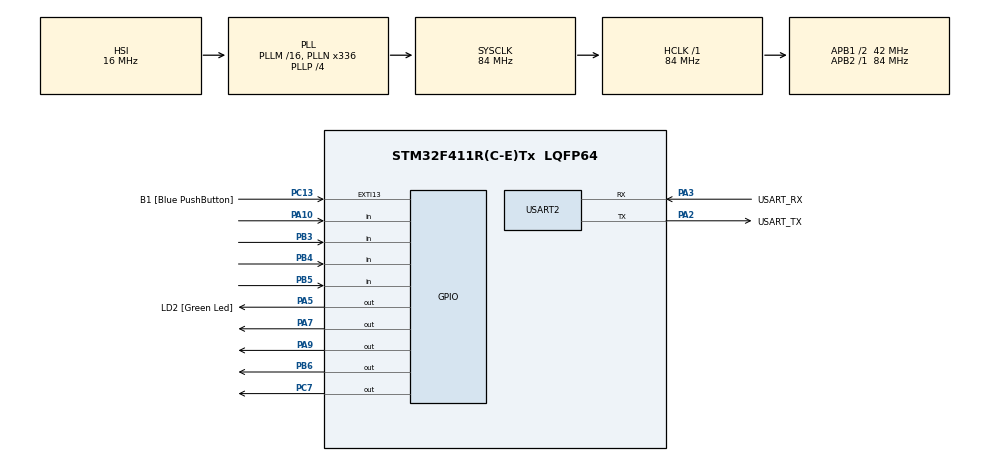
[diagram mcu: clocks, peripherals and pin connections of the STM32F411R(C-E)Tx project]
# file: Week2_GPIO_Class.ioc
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Mcu.Family=STM32F4
Mcu.Name=STM32F411R(C-E)Tx
Mcu.Package=LQFP64
NVIC.PriorityGroup=NVIC_PRIORITYGROUP_0
PA10.GPIO_PuPd=GPIO_PULLUP
PA10.Signal=GPIO_Input
PA13.GPIO_Label=TMS
PA13.Mode=Serial_Wire
PA13.Signal=SYS_JTMS-SWDIO
PA14.GPIO_Label=TCK
PA14.Mode=Serial_Wire
PA14.Signal=SYS_JTCK-SWCLK
PA2.GPIO_Label=USART_TX
PA2.Mode=Asynchronous
PA2.Signal=USART2_TX
PA3.GPIO_Label=USART_RX
PA3.Mode=Asynchronous
PA3.Signal=USART2_RX
PA5.GPIO_Label=LD2 [Green Led]
PA5.GPIO_ModeDefaultOutputPP=GPIO_MODE_OUTPUT_PP
PA5.GPIO_PuPd=GPIO_NOPULL
PA5.PinState=GPIO_PIN_RESET
PA5.Signal=GPIO_Output
PA7.GPIO_ModeDefaultOutputPP=GPIO_MODE_OUTPUT_OD
PA7.PinState=GPIO_PIN_SET
PA7.Signal=GPIO_Output
PA9.GPIO_ModeDefaultOutputPP=GPIO_MODE_OUTPUT_OD
PA9.PinState=GPIO_PIN_SET
PA9.Signal=GPIO_Output
PB3.GPIO_PuPd=GPIO_PULLUP
PB3.Signal=GPIO_Input
PB4.GPIO_PuPd=GPIO_PULLUP
PB4.Signal=GPIO_Input
PB5.GPIO_PuPd=GPIO_PULLUP
PB5.Signal=GPIO_Input
PB6.GPIO_ModeDefaultOutputPP=GPIO_MODE_OUTPUT_OD
PB6.PinState=GPIO_PIN_SET
PB6.Signal=GPIO_Output
PC13-ANTI_TAMP.GPIO_Label=B1 [Blue PushButton]
PC13-ANTI_TAMP.GPIO_ModeDefaultEXTI=GPIO_MODE_IT_FALLING
PC13-ANTI_TAMP.Signal=GPXTI13
PC14-OSC32_IN.Mode=LSE-External-Oscillator
PC14-OSC32_IN.Signal=RCC_OSC32_IN
PC15-OSC32_OUT.Mode=LSE-External-Oscillator
PC15-OSC32_OUT.Signal=RCC_OSC32_OUT
PC7.GPIO_ModeDefaultOutputPP=GPIO_MODE_OUTPUT_OD
PC7.PinState=GPIO_PIN_SET
PC7.Signal=GPIO_Output
PH0\ -\ OSC_IN.Mode=HSE-External-Clock-Source
PH0\ -\ OSC_IN.Signal=RCC_OSC_IN
PH1\ -\ OSC_OUT.Mode=HSE-External-Clock-Source
PH1\ -\ OSC_OUT.Signal=RCC_OSC_OUT
ProjectManager.HeapSize=0x200
ProjectManager.StackSize=0x400
ProjectManager.TargetToolchain=STM32CubeIDE
RCC.48MHZClocksFreq_Value=84000000
RCC.AHBFreq_Value=84000000
RCC.APB1CLKDivider=RCC_HCLK_DIV2
RCC.APB1Freq_Value=42000000
RCC.APB1TimFreq_Value=84000000
RCC.APB2Freq_Value=84000000
RCC.APB2TimFreq_Value=84000000
RCC.CortexFreq_Value=84000000
RCC.FLatency-AdvancedSettings=FLASH_LATENCY_2
RCC.HCLKFreq_Value=84000000
RCC.HSE_VALUE=8000000
RCC.HSI_VALUE=16000000
RCC.PLLN=336
RCC.PLLP=RCC_PLLP_DIV4
RCC.SYSCLKFreq_VALUE=84000000
RCC.SYSCLKSource=RCC_SYSCLKSOURCE_PLLCLK
RCC.VCOOutputFreq_Value=336000000
USART2.VirtualMode=VM_ASYNC
board=NUCLEO-F411RE

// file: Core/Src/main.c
/* USER CODE BEGIN Header */
/**
  ******************************************************************************
  * @file           : main.c
  * @brief          : Main program body
  ******************************************************************************
  * @attention
  *
  * <h2><center>&copy; Copyright (c) 2021 STMicroelectronics.
  * All rights reserved.</center></h2>
  *
  * This software component is licensed by ST under BSD 3-Clause license,
  * the "License"; You may not use this file except in compliance with the
  * License. You may obtain a copy of the License at:
  *                        opensource.org/licenses/BSD-3-Clause
  *
  ******************************************************************************
  */
/* USER CODE END Header */
#include "main.h"

UART_HandleTypeDef huart2;

/* USER CODE BEGIN PV */
//save status of Button Matrix
uint16_t ButtonMatrixState = 0;

//Button time stamp
uint32_t ButtonMatrixTimestamp = 0;

uint16_t Data1 =0;
uint16_t Input=0;
GPIO_TypeDef *Password[11] = {0,0,0,0,0,0,0,0,0,0,0} ;
int count =0;
GPIO_PinState Pinstate;
int k=0;
int Pass =0;
/* USER CODE END PV */

void SystemClock_Config(void);
static void MX_GPIO_Init(void);
static void MX_USART2_UART_Init(void);
/* USER CODE BEGIN PFP */
void ButtonMatrixUpdate();
/* USER CODE END PFP */

int main(void)
{

  /* MCU Configuration--------------------------------------------------------*/

  /* Reset of all peripherals, Initializes the Flash interface and the Systick. */
  HAL_Init();

  /* Configure the system clock */
  SystemClock_Config();

  /* Initialize all configured peripherals */
  MX_GPIO_Init();
  MX_USART2_UART_Init();

  /* Infinite loop */
  while (1)
  {

    /* USER CODE BEGIN 3 */
	  Input=0;
	  ButtonMatrixUpdate();
	  if (Input == 1 && k==0){
		  Password[count] = 7;
		  count++;
		  k=1;
	  }
	  else if (Input == 1 && k==0){
		  Password[count] = 7;
		  count++;
		  k=1;
	  }
	  else if (Input == 2 && k==0){
		  Password[count] = 8;
		  count++;
		  k=1;
	  }
	  else if (Input == 4 && k==0){
		  Password[count] = 9;
		  count++;
		  k=1;
	  }
	  else if (Input == 16 && k==0){
		  Password[count] = 4;
		  count++;
		  k=1;
	  }
	  else if (Input == 32 && k==0){
		  Password[count] = 5;
		  count++;
		  k=1;
	  }
	  else if (Input == 64 && k==0){
		  Password[count] = 6;
		  count++;
		  k=1;
	  }
	  else if (Input == 256 && k==0){
		  Password[count] = 1;
		  count++;
		  k=1;
	  }
	  else if (Input == 512 && k==0){
		  Password[count] = 2;
		  count++;
		  k=1;
	  }
	  else if (Input == 1024 && k==0){
		  Password[count] = 3;
		  count++;
		  k=1;
	  }
	  else if (Input == 4096 && k==0){
		  Password[count] = 0;
		  count++;
		  k=1;
	  }
	  else if (Input == 8){
		  count=0;
		  int j ;
		  HAL_GPIO_WritePin(GPIOA, GPIO_PIN_5, GPIO_PIN_SET);
		  for (j=0; j<11;j+=1){
			  Password[j] = 0;
		  }
		  k=1;
	  }
	  else if (Input == 32768 && k==0){
		  count=0;
		  if(Password[0]==6 && Password[1]==2 && Password[2]==3 && Password[3]==4
		  && Password[4]==0 && Password[5]==5 && Password[6]==0 && Password[7]==0
		  && Password[8]==0 && Password[9]==2 && Password[10]==9) {
			  HAL_GPIO_WritePin(GPIOA, GPIO_PIN_5, GPIO_PIN_SET);
			  Pass=1;
		  }
		  else {
			Pass =0;
			HAL_GPIO_WritePin(GPIOA, GPIO_PIN_5, GPIO_PIN_SET);
			k=1;
		  }
		  int j ;
		  count=0;
		  for (j=0; j<11;j+=1){
			  Password[j] = 0;
		  }
		  Pass=0;

	  }

	  else if(k==1 && ButtonMatrixState==0 ){
		  k=0;
		  HAL_GPIO_WritePin(GPIOA, GPIO_PIN_5, GPIO_PIN_RESET);
	  }

	  //Challenge
	  else if(Input == 128 && k==0){
		  Password[count-1]=0;
		  count-=1;
		  if(count<=0){
			  count=0;
		  }
		  k=1;
	  }

	  else if(k==1 && ButtonMatrixState!=0){
		  HAL_GPIO_WritePin(GPIOA, GPIO_PIN_5, GPIO_PIN_SET);
	  }

  }
  /* USER CODE END 3 */
}

void SystemClock_Config(void)
{
  RCC_OscInitTypeDef RCC_OscInitStruct = {0};
  RCC_ClkInitTypeDef RCC_ClkInitStruct = {0};

  /** Configure the main internal regulator output voltage
  */
  __HAL_RCC_PWR_CLK_ENABLE();
  __HAL_PWR_VOLTAGESCALING_CONFIG(PWR_REGULATOR_VOLTAGE_SCALE1);
  /** Initializes the RCC Oscillators according to the specified parameters
  * in the RCC_OscInitTypeDef structure.
  */
  RCC_OscInitStruct.OscillatorType = RCC_OSCILLATORTYPE_HSI;
  RCC_OscInitStruct.HSIState = RCC_HSI_ON;
  RCC_OscInitStruct.HSICalibrationValue = RCC_HSICALIBRATION_DEFAULT;
  RCC_OscInitStruct.PLL.PLLState = RCC_PLL_ON;
  RCC_OscInitStruct.PLL.PLLSource = RCC_PLLSOURCE_HSI;
  RCC_OscInitStruct.PLL.PLLM = 16;
  RCC_OscInitStruct.PLL.PLLN = 336;
  RCC_OscInitStruct.PLL.PLLP = RCC_PLLP_DIV4;
  RCC_OscInitStruct.PLL.PLLQ = 4;
  if (HAL_RCC_OscConfig(&RCC_OscInitStruct) != HAL_OK)
  {
    Error_Handler();
  }
  /** Initializes the CPU, AHB and APB buses clocks
  */
  RCC_ClkInitStruct.ClockType = RCC_CLOCKTYPE_HCLK|RCC_CLOCKTYPE_SYSCLK
                              |RCC_CLOCKTYPE_PCLK1|RCC_CLOCKTYPE_PCLK2;
  RCC_ClkInitStruct.SYSCLKSource = RCC_SYSCLKSOURCE_PLLCLK;
  RCC_ClkInitStruct.AHBCLKDivider = RCC_SYSCLK_DIV1;
  RCC_ClkInitStruct.APB1CLKDivider = RCC_HCLK_DIV2;
  RCC_ClkInitStruct.APB2CLKDivider = RCC_HCLK_DIV1;

  if (HAL_RCC_ClockConfig(&RCC_ClkInitStruct, FLASH_LATENCY_2) != HAL_OK)
  {
    Error_Handler();
  }
}

static void MX_USART2_UART_Init(void)
{

  huart2.Instance = USART2;
  huart2.Init.BaudRate = 115200;
  huart2.Init.WordLength = UART_WORDLENGTH_8B;
  huart2.Init.StopBits = UART_STOPBITS_1;
  huart2.Init.Parity = UART_PARITY_NONE;
  huart2.Init.Mode = UART_MODE_TX_RX;
  huart2.Init.HwFlowCtl = UART_HWCONTROL_NONE;
  huart2.Init.OverSampling = UART_OVERSAMPLING_16;
  if (HAL_UART_Init(&huart2) != HAL_OK)
  {
    Error_Handler();
  }

}

static void MX_GPIO_Init(void)
{
  GPIO_InitTypeDef GPIO_InitStruct = {0};

  /* GPIO Ports Clock Enable */
  __HAL_RCC_GPIOC_CLK_ENABLE();
  __HAL_RCC_GPIOH_CLK_ENABLE();
  __HAL_RCC_GPIOA_CLK_ENABLE();
  __HAL_RCC_GPIOB_CLK_ENABLE();

  /*Configure GPIO pin Output Level */
  HAL_GPIO_WritePin(LD2_GPIO_Port, LD2_Pin, GPIO_PIN_RESET);

  /*Configure GPIO pin Output Level */
  HAL_GPIO_WritePin(GPIOA, GPIO_PIN_7|GPIO_PIN_9, GPIO_PIN_SET);

  /*Configure GPIO pin Output Level */
  HAL_GPIO_WritePin(GPIOC, GPIO_PIN_7, GPIO_PIN_SET);

  /*Configure GPIO pin Output Level */
  HAL_GPIO_WritePin(GPIOB, GPIO_PIN_6, GPIO_PIN_SET);

  /*Configure GPIO pin : B1_Pin */
  GPIO_InitStruct.Pin = B1_Pin;
  GPIO_InitStruct.Mode = GPIO_MODE_IT_FALLING;
  GPIO_InitStruct.Pull = GPIO_NOPULL;
  HAL_GPIO_Init(B1_GPIO_Port, &GPIO_InitStruct);

  /*Configure GPIO pin : LD2_Pin */
  GPIO_InitStruct.Pin = LD2_Pin;
  GPIO_InitStruct.Mode = GPIO_MODE_OUTPUT_PP;
  GPIO_InitStruct.Pull = GPIO_NOPULL;
  GPIO_InitStruct.Speed = GPIO_SPEED_FREQ_LOW;
  HAL_GPIO_Init(LD2_GPIO_Port, &GPIO_InitStruct);

  /*Configure GPIO pins : PA7 PA9 */
  GPIO_InitStruct.Pin = GPIO_PIN_7|GPIO_PIN_9;
  GPIO_InitStruct.Mode = GPIO_MODE_OUTPUT_OD;
  GPIO_InitStruct.Pull = GPIO_NOPULL;
  GPIO_InitStruct.Speed = GPIO_SPEED_FREQ_LOW;
  HAL_GPIO_Init(GPIOA, &GPIO_InitStruct);

  /*Configure GPIO pin : PC7 */
  GPIO_InitStruct.Pin = GPIO_PIN_7;
  GPIO_InitStruct.Mode = GPIO_MODE_OUTPUT_OD;
  GPIO_InitStruct.Pull = GPIO_NOPULL;
  GPIO_InitStruct.Speed = GPIO_SPEED_FREQ_LOW;
  HAL_GPIO_Init(GPIOC, &GPIO_InitStruct);

  /*Configure GPIO pin : PA10 */
  GPIO_InitStruct.Pin = GPIO_PIN_10;
  GPIO_InitStruct.Mode = GPIO_MODE_INPUT;
  GPIO_InitStruct.Pull = GPIO_PULLUP;
  HAL_GPIO_Init(GPIOA, &GPIO_InitStruct);

  /*Configure GPIO pins : PB3 PB4 PB5 */
  GPIO_InitStruct.Pin = GPIO_PIN_3|GPIO_PIN_4|GPIO_PIN_5;
  GPIO_InitStruct.Mode = GPIO_MODE_INPUT;
  GPIO_InitStruct.Pull = GPIO_PULLUP;
  HAL_GPIO_Init(GPIOB, &GPIO_InitStruct);

  /*Configure GPIO pin : PB6 */
  GPIO_InitStruct.Pin = GPIO_PIN_6;
  GPIO_InitStruct.Mode = GPIO_MODE_OUTPUT_OD;
  GPIO_InitStruct.Pull = GPIO_NOPULL;
  GPIO_InitStruct.Speed = GPIO_SPEED_FREQ_LOW;
  HAL_GPIO_Init(GPIOB, &GPIO_InitStruct);

}

/* USER CODE BEGIN 4 */
//port/pin array , 0-3 input , 4-7 output
GPIO_TypeDef* ButtonMatrixPort[8] ={GPIOA,GPIOB,GPIOB,GPIOB,GPIOA,GPIOC,GPIOB,GPIOA};
uint16_t ButtonMatrixPin[8] = {GPIO_PIN_10,GPIO_PIN_3,GPIO_PIN_5,GPIO_PIN_4,GPIO_PIN_9,GPIO_PIN_7,GPIO_PIN_6,GPIO_PIN_7};

int n;
uint8_t ButtonMatrixRow = 0; //What R Now

void ButtonMatrixUpdate()
{
	if(HAL_GetTick()-ButtonMatrixTimestamp >= 25)
	{
		ButtonMatrixTimestamp = HAL_GetTick();
		int i;
		for(i=0; i<4;i+=1)
		{	//0-3
			Pinstate = HAL_GPIO_ReadPin(ButtonMatrixPort[i], ButtonMatrixPin[i]);
			if(Pinstate == GPIO_PIN_RESET)		//ButtonPress
			{
				ButtonMatrixState |= (uint16_t)0x1 <<(i + ButtonMatrixRow * 4);
				Input=ButtonMatrixState;

			}
			else
			{
				ButtonMatrixState &= ~((uint16_t)0x1 <<(i + ButtonMatrixRow * 4));
			}
		}
		uint8_t NowOutputPin = ButtonMatrixRow + 4;
		// SET PIN
		HAL_GPIO_WritePin(ButtonMatrixPort[NowOutputPin], ButtonMatrixPin[NowOutputPin], GPIO_PIN_SET);

		//update New Row
		ButtonMatrixRow = (ButtonMatrixRow +1) % 4;

		//Reset PIN+1
		uint8_t NextOutputPin = ButtonMatrixRow + 4;
		HAL_GPIO_WritePin(ButtonMatrixPort[NextOutputPin], ButtonMatrixPin[NextOutputPin],GPIO_PIN_RESET);

	}
}

/* USER CODE END 4 */

void Error_Handler(void)
{
  __disable_irq();
  while (1)
  {
  }
}

/************************ (C) COPYRIGHT STMicroelectronics *****END OF FILE****/
